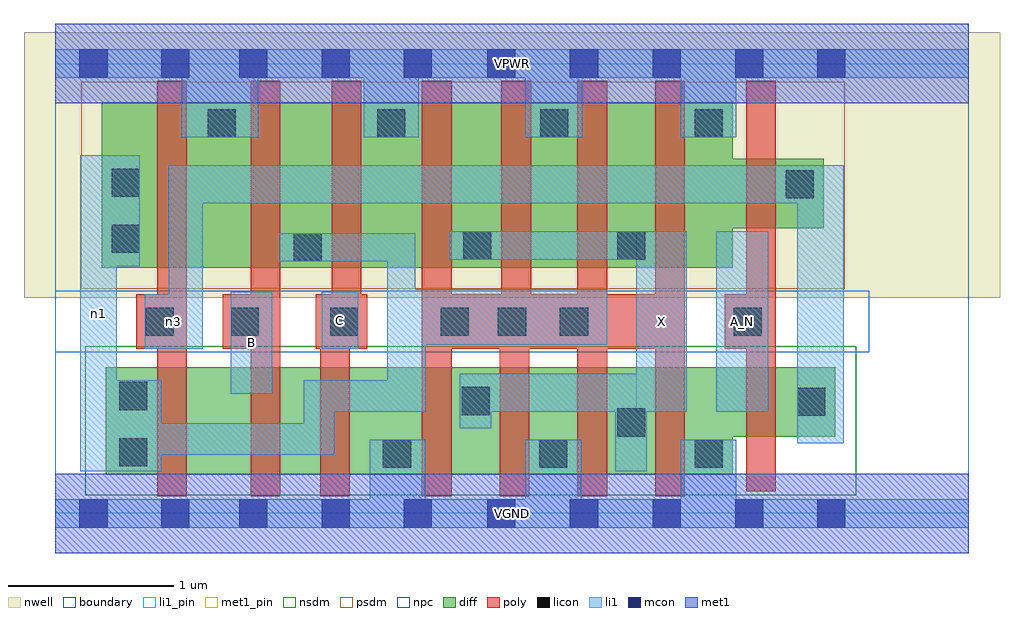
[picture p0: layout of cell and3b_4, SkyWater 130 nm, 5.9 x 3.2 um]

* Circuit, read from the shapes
.subckt and3b_4 A_N B C VGND VPWR X n1 n3
XM1 n2 n3 n1 VSUBS sky130_fd_pr__nfet_01v8 w=0.65 l=0.18
XM2 n4 B n2 VSUBS sky130_fd_pr__nfet_01v8 w=0.65 l=0.18
XM3 VGND C n4 VSUBS sky130_fd_pr__nfet_01v8 w=0.65 l=0.18
XM4 X n1 VGND VSUBS sky130_fd_pr__nfet_01v8 w=0.65 l=0.18 m=4
XM5 n3 A_N VGND VSUBS sky130_fd_pr__nfet_01v8 w=0.42 l=0.18
XM6 VPWR n3 n1 n5 sky130_fd_pr__pfet_01v8 w=1 l=0.18
XM7 n1 B VPWR n5 sky130_fd_pr__pfet_01v8 w=1 l=0.18
XM8 VPWR C n1 n5 sky130_fd_pr__pfet_01v8 w=1 l=0.18
XM9 X n1 VPWR n5 sky130_fd_pr__pfet_01v8 w=1 l=0.18 m=4
XM10 n3 A_N VPWR n5 sky130_fd_pr__pfet_01v8 w=0.42 l=0.18
.ends

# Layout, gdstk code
import gdstk
lib = gdstk.Library(unit=1e-6, precision=1e-09)
def R(c, l, rs):  # rectangles x0, y0, x1, y1
    for r in rs: c.add(gdstk.rectangle(r[:2], r[2:], *l))
def A(c, l, x, y, w, h, nx, ny, dx, dy):  # array of equal rectangles
    R(c, l, [(x+i*dx, y+j*dy, x+i*dx+w, y+j*dy+h) for i in range(nx) for j in range(ny)])
nwell = (64, 20)
diff = (65, 20)
poly = (66, 20)
licon = (66, 44)
li1_pin = (67, 16)
li1 = (67, 20)
mcon = (67, 44)
met1_pin = (68, 16)
met1 = (68, 20)
nsdm = (93, 44)
psdm = (94, 20)
npc = (95, 20)
boundary = (235, 4)

and3b_4 = lib.new_cell('and3b_4')
R(and3b_4, nwell, [(-0.19,1.305,5.71,2.91), (0,1.305,5.52,2.91)])
R(and3b_4, diff, [(0.305,0.235,4.095,0.885), (0.305,0.465,4.715,0.885), (0.28,1.485,4.095,2.485), (0.28,1.725,4.645,2.145)])
R(and3b_4, poly, [(0.615,0.105,0.795,2.615), (1.18,0.105,1.36,2.615), (1.6,0.105,1.78,1.325), (2.215,0.105,2.395,2.615), (2.685,0.105,2.865,1.325), (3.155,0.105,3.335,2.615), (3.625,0.105,3.805,2.615), (4.175,0.135,4.355,2.615), (0.49,0.995,0.795,1.325), (1.01,0.995,1.36,1.325), (1.575,0.995,1.885,1.325), (1.67,0.995,1.85,2.615), (2.215,0.995,3.805,1.325), (2.695,0.995,2.875,2.615), (4.045,0.995,4.355,1.325)])
R(and3b_4, licon, [(1.98,0.275,2.15,0.445), (2.925,0.275,3.095,0.445), (3.865,0.275,4.035,0.445), (0.385,0.285,0.555,0.455), (3.395,0.465,3.565,0.635), (4.485,0.59,4.655,0.76), (2.455,0.595,2.625,0.765), (0.385,0.625,0.555,0.795), (0.545,1.075,0.715,1.245), (1.06,1.075,1.23,1.245), (1.66,1.075,1.83,1.245), (2.33,1.075,2.5,1.245), (2.675,1.075,2.845,1.245), (3.05,1.075,3.22,1.245), (4.1,1.075,4.27,1.245), (1.44,1.525,1.61,1.695), (2.465,1.535,2.635,1.705), (3.395,1.535,3.565,1.705), (0.34,1.575,0.51,1.745), (4.415,1.905,4.585,2.075), (0.34,1.915,0.51,2.085), (0.92,2.275,1.09,2.445), (1.945,2.275,2.115,2.445), (2.93,2.275,3.1,2.445), (3.865,2.275,4.035,2.445)])
R(and3b_4, li1_pin, [(3.51,0.615,3.815,1.705), (3.995,0.615,4.31,1.705), (1.06,0.725,1.31,1.34), (1.61,0.995,1.83,1.34)])
R(and3b_4, li1, [(0,-0.085,5.52,0.085), (1.9,-0.085,2.235,0.445), (2.84,-0.085,3.18,0.445), (3.78,-0.085,4.115,0.445), (0.15,0.255,0.37,2.165), (0.15,0.255,0.64,0.805), (3.385,0.255,3.575,0.845), (0.15,0.355,1.685,0.545), (1.5,0.355,1.685,0.805), (4.485,0.425,4.765,2.105), (2.445,0.515,2.635,0.845), (1.5,0.615,2.24,0.805), (2.005,0.615,2.175,1.695), (2.005,0.615,2.24,1.355), (2.445,0.615,3.815,0.845), (3.51,0.615,3.815,1.705), (3.995,0.615,4.31,1.705), (1.06,0.725,1.31,1.34), (0.54,0.995,0.89,1.325), (0.685,0.995,0.89,2.105), (1.61,0.995,1.83,1.34), (2.005,1.02,3.335,1.355), (0.15,1.495,0.51,2.165), (1.355,1.525,2.175,1.695), (2.38,1.535,3.815,1.705), (0.685,1.875,4.765,2.105), (0.765,2.275,1.225,2.805), (1.865,2.275,2.195,2.805), (2.84,2.275,3.185,2.805), (3.78,2.275,4.115,2.805), (0,2.635,5.52,2.805)])
A(and3b_4, mcon, 2.61, -0.085, 0.17, 0.17, 4, 2, 0.5, 2.72)
R(and3b_4, mcon, [(0.145,-0.085,0.315,0.085), (0.64,-0.085,0.81,0.085), (1.11,-0.085,1.28,0.085), (1.61,-0.085,1.78,0.085), (2.105,-0.085,2.275,0.085), (4.605,-0.085,4.775,0.085), (0.145,2.635,0.315,2.805), (0.64,2.635,0.81,2.805), (1.11,2.635,1.28,2.805), (1.61,2.635,1.78,2.805), (2.105,2.635,2.275,2.805), (4.605,2.635,4.775,2.805)])
R(and3b_4, met1_pin, [(0,-0.24,5.52,0.24), (0,2.48,5.52,2.96)])
R(and3b_4, met1, [(0,-0.24,5.52,0.24), (0,2.48,5.52,2.96)])
R(and3b_4, nsdm, [(0.18,0.11,4.84,1.01)])
R(and3b_4, psdm, [(0.155,1.36,4.77,2.61)])
R(and3b_4, npc, [(0,0.975,4.92,1.345)])
R(and3b_4, boundary, [(0,0,5.52,2.72)])
and3b_4.add(gdstk.Label('A_N', (4.152,1.16), layer=67, texttype=5))
and3b_4.add(gdstk.Label('B', (1.185,1.032), layer=67, texttype=5))
and3b_4.add(gdstk.Label('C', (1.72,1.167), layer=67, texttype=5))
and3b_4.add(gdstk.Label('X', (3.662,1.16), layer=67, texttype=5))
and3b_4.add(gdstk.Label('n3', (0.715,1.16), layer=67, texttype=5))
and3b_4.add(gdstk.Label('n1', (0.26,1.21), layer=67, texttype=5))
and3b_4.add(gdstk.Label('VPWR', (2.76,2.72), layer=68, texttype=5))
and3b_4.add(gdstk.Label('VGND', (2.76,0), layer=68, texttype=5))
and3b_4.add(gdstk.Label('A_N', (4.152,1.16), layer=67, texttype=16))
and3b_4.add(gdstk.Label('B', (1.185,1.032), layer=67, texttype=16))
and3b_4.add(gdstk.Label('C', (1.72,1.167), layer=67, texttype=16))
and3b_4.add(gdstk.Label('X', (3.662,1.16), layer=67, texttype=16))
and3b_4.add(gdstk.Label('VPWR', (2.76,2.72), layer=68, texttype=16))
and3b_4.add(gdstk.Label('VGND', (2.76,0), layer=68, texttype=16))

lib.write_gds('and3b_4.gds')
